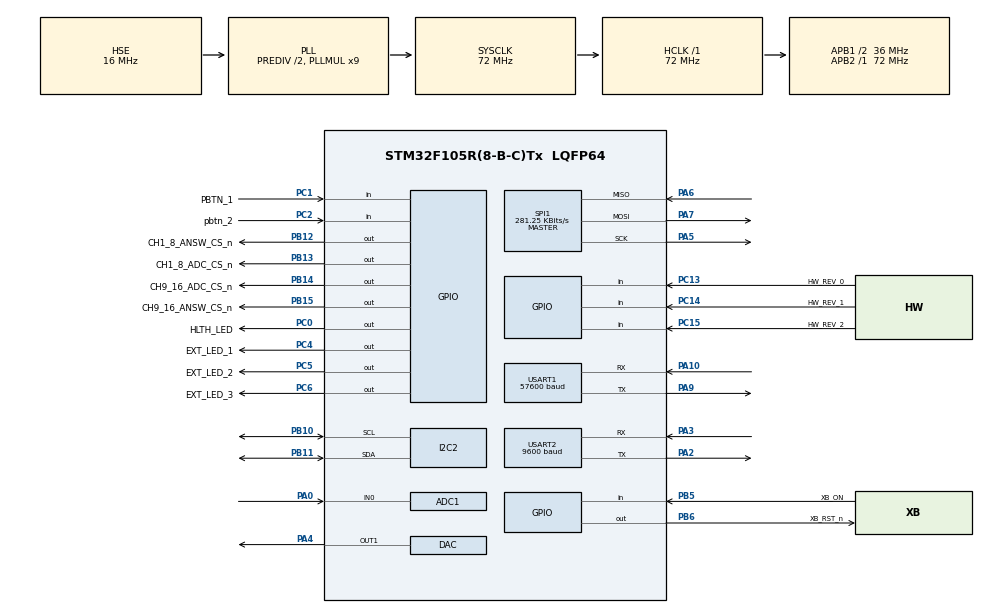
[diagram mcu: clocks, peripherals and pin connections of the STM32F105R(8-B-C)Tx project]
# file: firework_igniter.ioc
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ADC1.Channel-0\#ChannelRegularConversion=ADC_CHANNEL_0
ADC1.NbrOfConversionFlag=1
ADC1.Rank-0\#ChannelRegularConversion=1
ADC1.SamplingTime-0\#ChannelRegularConversion=ADC_SAMPLETIME_1CYCLE_5
ADC1.master=1
Mcu.Family=STM32F1
Mcu.Name=STM32F105R(8-B-C)Tx
Mcu.Package=LQFP64
NVIC.PriorityGroup=NVIC_PRIORITYGROUP_4
NVIC.TIM6_IRQn=true\:0\:0\:false\:false\:true\:true\:true
NVIC.USART1_IRQn=true\:0\:0\:false\:false\:true\:true\:true
NVIC.USART2_IRQn=true\:0\:0\:false\:false\:true\:true\:true
PA0-WKUP.Signal=ADCx_IN0
PA10.Mode=Asynchronous
PA10.Signal=USART1_RX
PA13.Mode=Serial_Wire
PA13.Signal=SYS_JTMS-SWDIO
PA14.Mode=Serial_Wire
PA14.Signal=SYS_JTCK-SWCLK
PA2.Mode=Asynchronous
PA2.Signal=USART2_TX
PA3.Mode=Asynchronous
PA3.Signal=USART2_RX
PA4.Signal=COMP_DAC1_group
PA5.Mode=Full_Duplex_Master
PA5.Signal=SPI1_SCK
PA6.Mode=Full_Duplex_Master
PA6.Signal=SPI1_MISO
PA7.Mode=Full_Duplex_Master
PA7.Signal=SPI1_MOSI
PA9.Mode=Asynchronous
PA9.Signal=USART1_TX
PB10.Mode=I2C
PB10.Signal=I2C2_SCL
PB11.Mode=I2C
PB11.Signal=I2C2_SDA
PB12.GPIO_Label=CH1_8_ANSW_CS_n
PB12.PinState=GPIO_PIN_SET
PB12.Signal=GPIO_Output
PB13.GPIO_Label=CH1_8_ADC_CS_n
PB13.PinState=GPIO_PIN_SET
PB13.Signal=GPIO_Output
PB14.GPIO_Label=CH9_16_ADC_CS_n
PB14.PinState=GPIO_PIN_SET
PB14.Signal=GPIO_Output
PB15.GPIO_Label=CH9_16_ANSW_CS_n
PB15.PinState=GPIO_PIN_SET
PB15.Signal=GPIO_Output
PB3.Signal=SYS_TRACESWO
PB5.GPIO_Label=XB_ON
PB5.Signal=GPIO_Input
PB6.GPIO_Label=XB_RST_n
PB6.Signal=GPIO_Output
PC0.GPIO_Label=HLTH_LED
PC0.GPIO_ModeDefaultOutputPP=GPIO_MODE_OUTPUT_PP
PC0.PinState=GPIO_PIN_RESET
PC0.Signal=GPIO_Output
PC1.GPIO_Label=PBTN_1
PC1.Signal=GPIO_Input
PC13-TAMPER-RTC.GPIO_Label=HW_REV_0
PC13-TAMPER-RTC.Signal=GPIO_Input
PC14-OSC32_IN.GPIO_Label=HW_REV_1
PC14-OSC32_IN.Signal=GPIO_Input
PC15-OSC32_OUT.GPIO_Label=HW_REV_2
PC15-OSC32_OUT.Signal=GPIO_Input
PC2.GPIO_Label=pbtn_2
PC2.Signal=GPIO_Input
PC4.GPIO_Label=EXT_LED_1
PC4.PinState=GPIO_PIN_SET
PC4.Signal=GPIO_Output
PC5.GPIO_Label=EXT_LED_2
PC5.PinState=GPIO_PIN_SET
PC5.Signal=GPIO_Output
PC6.GPIO_Label=EXT_LED_3
PC6.PinState=GPIO_PIN_SET
PC6.Signal=GPIO_Output
PD0-OSC_IN.Mode=HSE-External-Oscillator
PD0-OSC_IN.Signal=RCC_OSC_IN
PD1-OSC_OUT.Mode=HSE-External-Oscillator
PD1-OSC_OUT.Signal=RCC_OSC_OUT
ProjectManager.HeapSize=0x200
ProjectManager.StackSize=0x400
ProjectManager.TargetToolchain=STM32CubeIDE
RCC.ADCPresc=RCC_ADCPCLK2_DIV6
RCC.AHBFreq_Value=72000000
RCC.APB1CLKDivider=RCC_HCLK_DIV2
RCC.APB1Freq_Value=36000000
RCC.APB1TimFreq_Value=72000000
RCC.APB2Freq_Value=72000000
RCC.APB2TimFreq_Value=72000000
RCC.HCLKFreq_Value=72000000
RCC.HSEDivPLL=RCC_HSE_PREDIV_DIV2
RCC.HSE_VALUE=16000000
RCC.PLLMUL=RCC_PLL_MUL9
RCC.PLLSourceVirtual=RCC_PLLSOURCE_HSE
RCC.SYSCLKFreq_VALUE=72000000
RCC.SYSCLKSource=RCC_SYSCLKSOURCE_PLLCLK
RCC.USBFreq_Value=48000000
SH.ADCx_IN0.0=ADC1_IN0,IN0
SH.COMP_DAC1_group.0=DAC_OUT1,DAC_OUT1
SPI1.BaudRatePrescaler=SPI_BAUDRATEPRESCALER_256
SPI1.CalculateBaudRate=281.25 KBits/s
SPI1.Direction=SPI_DIRECTION_2LINES
SPI1.Mode=SPI_MODE_MASTER
SPI1.VirtualType=VM_MASTER
TIM6.AutoReloadPreload=TIM_AUTORELOAD_PRELOAD_ENABLE
TIM6.Period=10000-1
TIM6.Prescaler=72-1
USART1.BaudRate=57600
USART1.VirtualMode=VM_ASYNC
USART2.BaudRate=9600
USART2.VirtualMode=VM_ASYNC
VP_TIM6_VS_ClockSourceINT.Mode=Enable_Timer
board=custom

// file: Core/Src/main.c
/* USER CODE BEGIN Header */
/**
  ******************************************************************************
  * @file           : main.c
  * @brief          : Main program body
  ******************************************************************************
  * @attention
  *
  * Copyright (c) 2023 STMicroelectronics.
  * All rights reserved.
  *
  * This software is licensed under terms that can be found in the LICENSE file
  * in the root directory of this software component.
  * If no LICENSE file comes with this software, it is provided AS-IS.
  *
  ******************************************************************************
  */
/* USER CODE END Header */
#include "main.h"

/* USER CODE BEGIN PTD */
// struct timing       time;
struct UARTMembers  uart;
ad7888              a2d;
fuse                fus;
timing              tim;

/* USER CODE END PTD */

ADC_HandleTypeDef hadc1;

DAC_HandleTypeDef hdac;

I2C_HandleTypeDef hi2c2;

SPI_HandleTypeDef hspi1;

TIM_HandleTypeDef htim6;

UART_HandleTypeDef huart1;
UART_HandleTypeDef huart2;

/* USER CODE BEGIN PV */
uint8_t rx_char;

/* USER CODE END PV */

void SystemClock_Config(void);
static void MX_GPIO_Init(void);
static void MX_ADC1_Init(void);
static void MX_DAC_Init(void);
static void MX_I2C2_Init(void);
static void MX_SPI1_Init(void);
static void MX_USART1_UART_Init(void);
static void MX_USART2_UART_Init(void);
static void MX_TIM6_Init(void);

int main(void)
{

  /* MCU Configuration--------------------------------------------------------*/

  /* Reset of all peripherals, Initializes the Flash interface and the Systick. */
  HAL_Init();

  /* Configure the system clock */
  SystemClock_Config();

  /* USER CODE BEGIN SysInit */
  uart.errorflag      = false;
  uart.validmsg       = false;
  uart.msg_state      = STATESTART;
  uart.len_verify     = 0;                        // Initialize length verify counter to 0
  uart.producer_index = 0;                        // Initialize consumer index
  uart.consumer_index = 0;                        // Initialize producer index
  uart.inmenu         = false;                    // Will not start out in console menu

  /* USER CODE END SysInit */

  /* Initialize all configured peripherals */
  MX_GPIO_Init();
  MX_ADC1_Init();
  MX_DAC_Init();
  MX_I2C2_Init();
  MX_SPI1_Init();
  MX_USART1_UART_Init();
  MX_USART2_UART_Init();
  MX_TIM6_Init();
  /* USER CODE BEGIN 2 */

  init_ad7888 (&a2d);
  init_timer (&tim);
  igniter_initialize(&fus);

  HAL_GPIO_WritePin(EXT_LED_1_GPIO_Port, EXT_LED_1_Pin, GPIO_PIN_RESET);
  HAL_GPIO_WritePin(EXT_LED_2_GPIO_Port,EXT_LED_2_Pin, GPIO_PIN_RESET);
  HAL_GPIO_WritePin(EXT_LED_3_GPIO_Port,EXT_LED_3_Pin, GPIO_PIN_RESET);

  // Verify the XBEE module is awake and not in reset
  HAL_GPIO_WritePin(XB_ON_GPIO_Port,XB_ON_Pin, GPIO_PIN_SET);
  HAL_GPIO_WritePin(XB_RST_n_GPIO_Port,XB_RST_n_Pin, GPIO_PIN_SET);

  // Must use Base Start IT if using interrupts
  HAL_TIM_Base_Start_IT(&htim6);
  HAL_DAC_Start(&hdac, DAC_CHANNEL_1);

  HAL_UART_Receive_IT(&huart1, &uart.rxchar, 1);  // UART to console interface
  HAL_UART_Receive_IT(&huart2, &uart.rxchar, 1);  // UART to XBEE interface

  /* USER CODE END 2 */

  /* Infinite loop */
  /* USER CODE BEGIN WHILE */
  while (1)
  {

    /**
     * Message handling
     */
    if (uart.byte_counter >= MAX_RX_BUF_INDEX) {
      ResetRxBuffer();                        //Something went wrong, reset the RX buffer.
    }
    else if(uart.consumer_index != uart.producer_index) {             //We have unprocessed data when indices do not agree
      HandleByte();
    }

    if(uart.validmsg == true) {     //A valid message confirmed in buffer
        uart.validmsg = false;      //Avoid diving into ProcessMessage for no reason
        ProcessMessage();
    }

    if(tim.timer_100ms_running && ((tim.timer_100ms_cntr) >= FUSE_100MS_TICKS_TIMEOUT)) {
      anlg_sw_all_off();
      fus.fuse_lighting_bool = false;
      tim.timer_100ms_running = false;
      tim.timer_100ms_cntr = 0;

    }

	  if(tim.flag_10ms_tick) {
		  tim.flag_10ms_tick = false;
	  }

	  if(tim.flag_100ms_tick) {
	      tim.flag_100ms_tick = false;
        if(fus.fuse_lighting_bool) {
	        HAL_GPIO_TogglePin(EXT_LED_2_GPIO_Port, EXT_LED_2_Pin); // External RED LED
        }
        else {
          HAL_GPIO_WritePin(EXT_LED_2_GPIO_Port,EXT_LED_2_Pin, GPIO_PIN_RESET);
        }

        /* If all fuses are bad, illuminate the amber LED */
	      if(fus.all_fuses_bad_bool){
          HAL_GPIO_TogglePin(EXT_LED_3_GPIO_Port, EXT_LED_3_Pin); // External Amber LED
        }
        else {
          HAL_GPIO_WritePin(EXT_LED_3_GPIO_Port, EXT_LED_3_Pin, GPIO_PIN_RESET);
        }

    }

	    if(tim.flag_500ms_tick) {
	      tim.flag_500ms_tick = false;
	      HAL_GPIO_TogglePin(HLTH_LED_GPIO_Port, HLTH_LED_Pin);   // Board LED
	      HAL_GPIO_TogglePin(EXT_LED_1_GPIO_Port, EXT_LED_1_Pin); // External GRN LED

	    }

    /* USER CODE END WHILE */

  }
}

void SystemClock_Config(void)
{
  RCC_OscInitTypeDef RCC_OscInitStruct = {0};
  RCC_ClkInitTypeDef RCC_ClkInitStruct = {0};
  RCC_PeriphCLKInitTypeDef PeriphClkInit = {0};

  /** Initializes the RCC Oscillators according to the specified parameters
  * in the RCC_OscInitTypeDef structure.
  */
  RCC_OscInitStruct.OscillatorType = RCC_OSCILLATORTYPE_HSE;
  RCC_OscInitStruct.HSEState = RCC_HSE_ON;
  RCC_OscInitStruct.HSEPredivValue = RCC_HSE_PREDIV_DIV2;
  RCC_OscInitStruct.HSIState = RCC_HSI_ON;
  RCC_OscInitStruct.Prediv1Source = RCC_PREDIV1_SOURCE_HSE;
  RCC_OscInitStruct.PLL.PLLState = RCC_PLL_ON;
  RCC_OscInitStruct.PLL.PLLSource = RCC_PLLSOURCE_HSE;
  RCC_OscInitStruct.PLL.PLLMUL = RCC_PLL_MUL9;
  RCC_OscInitStruct.PLL2.PLL2State = RCC_PLL_NONE;
  if (HAL_RCC_OscConfig(&RCC_OscInitStruct) != HAL_OK)
  {
    Error_Handler();
  }
  /** Initializes the CPU, AHB and APB buses clocks
  */
  RCC_ClkInitStruct.ClockType = RCC_CLOCKTYPE_HCLK|RCC_CLOCKTYPE_SYSCLK
                              |RCC_CLOCKTYPE_PCLK1|RCC_CLOCKTYPE_PCLK2;
  RCC_ClkInitStruct.SYSCLKSource = RCC_SYSCLKSOURCE_PLLCLK;
  RCC_ClkInitStruct.AHBCLKDivider = RCC_SYSCLK_DIV1;
  RCC_ClkInitStruct.APB1CLKDivider = RCC_HCLK_DIV2;
  RCC_ClkInitStruct.APB2CLKDivider = RCC_HCLK_DIV1;

  if (HAL_RCC_ClockConfig(&RCC_ClkInitStruct, FLASH_LATENCY_2) != HAL_OK)
  {
    Error_Handler();
  }
  PeriphClkInit.PeriphClockSelection = RCC_PERIPHCLK_ADC;
  PeriphClkInit.AdcClockSelection = RCC_ADCPCLK2_DIV6;
  if (HAL_RCCEx_PeriphCLKConfig(&PeriphClkInit) != HAL_OK)
  {
    Error_Handler();
  }
  /** Configure the Systick interrupt time
  */
  __HAL_RCC_PLLI2S_ENABLE();
}

static void MX_ADC1_Init(void)
{

  ADC_ChannelConfTypeDef sConfig = {0};

  /** Common config
  */
  hadc1.Instance = ADC1;
  hadc1.Init.ScanConvMode = ADC_SCAN_DISABLE;
  hadc1.Init.ContinuousConvMode = DISABLE;
  hadc1.Init.DiscontinuousConvMode = DISABLE;
  hadc1.Init.ExternalTrigConv = ADC_SOFTWARE_START;
  hadc1.Init.DataAlign = ADC_DATAALIGN_RIGHT;
  hadc1.Init.NbrOfConversion = 1;
  if (HAL_ADC_Init(&hadc1) != HAL_OK)
  {
    Error_Handler();
  }
  /** Configure Regular Channel
  */
  sConfig.Channel = ADC_CHANNEL_0;
  sConfig.Rank = ADC_REGULAR_RANK_1;
  sConfig.SamplingTime = ADC_SAMPLETIME_1CYCLE_5;
  if (HAL_ADC_ConfigChannel(&hadc1, &sConfig) != HAL_OK)
  {
    Error_Handler();
  }

}

static void MX_DAC_Init(void)
{

  DAC_ChannelConfTypeDef sConfig = {0};

  /** DAC Initialization
  */
  hdac.Instance = DAC;
  if (HAL_DAC_Init(&hdac) != HAL_OK)
  {
    Error_Handler();
  }
  /** DAC channel OUT1 config
  */
  sConfig.DAC_Trigger = DAC_TRIGGER_NONE;
  sConfig.DAC_OutputBuffer = DAC_OUTPUTBUFFER_ENABLE;
  if (HAL_DAC_ConfigChannel(&hdac, &sConfig, DAC_CHANNEL_1) != HAL_OK)
  {
    Error_Handler();
  }

}

static void MX_I2C2_Init(void)
{

  hi2c2.Instance = I2C2;
  hi2c2.Init.ClockSpeed = 100000;
  hi2c2.Init.DutyCycle = I2C_DUTYCYCLE_2;
  hi2c2.Init.OwnAddress1 = 0;
  hi2c2.Init.AddressingMode = I2C_ADDRESSINGMODE_7BIT;
  hi2c2.Init.DualAddressMode = I2C_DUALADDRESS_DISABLE;
  hi2c2.Init.OwnAddress2 = 0;
  hi2c2.Init.GeneralCallMode = I2C_GENERALCALL_DISABLE;
  hi2c2.Init.NoStretchMode = I2C_NOSTRETCH_DISABLE;
  if (HAL_I2C_Init(&hi2c2) != HAL_OK)
  {
    Error_Handler();
  }

}

static void MX_SPI1_Init(void)
{

  /* SPI1 parameter configuration*/
  hspi1.Instance = SPI1;
  hspi1.Init.Mode = SPI_MODE_MASTER;
  hspi1.Init.Direction = SPI_DIRECTION_2LINES;
  hspi1.Init.DataSize = SPI_DATASIZE_8BIT;
  hspi1.Init.CLKPolarity = SPI_POLARITY_LOW;
  hspi1.Init.CLKPhase = SPI_PHASE_1EDGE;
  hspi1.Init.NSS = SPI_NSS_SOFT;
  hspi1.Init.BaudRatePrescaler = SPI_BAUDRATEPRESCALER_256;
  hspi1.Init.FirstBit = SPI_FIRSTBIT_MSB;
  hspi1.Init.TIMode = SPI_TIMODE_DISABLE;
  hspi1.Init.CRCCalculation = SPI_CRCCALCULATION_DISABLE;
  hspi1.Init.CRCPolynomial = 10;
  if (HAL_SPI_Init(&hspi1) != HAL_OK)
  {
    Error_Handler();
  }

}

static void MX_TIM6_Init(void)
{

  TIM_MasterConfigTypeDef sMasterConfig = {0};

  htim6.Instance = TIM6;
  htim6.Init.Prescaler = 72-1;
  htim6.Init.CounterMode = TIM_COUNTERMODE_UP;
  htim6.Init.Period = 10000-1;
  htim6.Init.AutoReloadPreload = TIM_AUTORELOAD_PRELOAD_ENABLE;
  if (HAL_TIM_Base_Init(&htim6) != HAL_OK)
  {
    Error_Handler();
  }
  sMasterConfig.MasterOutputTrigger = TIM_TRGO_RESET;
  sMasterConfig.MasterSlaveMode = TIM_MASTERSLAVEMODE_DISABLE;
  if (HAL_TIMEx_MasterConfigSynchronization(&htim6, &sMasterConfig) != HAL_OK)
  {
    Error_Handler();
  }

}

static void MX_USART1_UART_Init(void)
{

  huart1.Instance = USART1;
  huart1.Init.BaudRate = 57600;
  huart1.Init.WordLength = UART_WORDLENGTH_8B;
  huart1.Init.StopBits = UART_STOPBITS_1;
  huart1.Init.Parity = UART_PARITY_NONE;
  huart1.Init.Mode = UART_MODE_TX_RX;
  huart1.Init.HwFlowCtl = UART_HWCONTROL_NONE;
  huart1.Init.OverSampling = UART_OVERSAMPLING_16;
  if (HAL_UART_Init(&huart1) != HAL_OK)
  {
    Error_Handler();
  }

}

static void MX_USART2_UART_Init(void)
{

  huart2.Instance = USART2;
  huart2.Init.BaudRate = 9600;
  huart2.Init.WordLength = UART_WORDLENGTH_8B;
  huart2.Init.StopBits = UART_STOPBITS_1;
  huart2.Init.Parity = UART_PARITY_NONE;
  huart2.Init.Mode = UART_MODE_TX_RX;
  huart2.Init.HwFlowCtl = UART_HWCONTROL_NONE;
  huart2.Init.OverSampling = UART_OVERSAMPLING_16;
  if (HAL_UART_Init(&huart2) != HAL_OK)
  {
    Error_Handler();
  }

}

static void MX_GPIO_Init(void)
{
  GPIO_InitTypeDef GPIO_InitStruct = {0};

  /* GPIO Ports Clock Enable */
  __HAL_RCC_GPIOC_CLK_ENABLE();
  __HAL_RCC_GPIOD_CLK_ENABLE();
  __HAL_RCC_GPIOA_CLK_ENABLE();
  __HAL_RCC_GPIOB_CLK_ENABLE();

  /*Configure GPIO pin Output Level */
  HAL_GPIO_WritePin(HLTH_LED_GPIO_Port, HLTH_LED_Pin, GPIO_PIN_RESET);

  /*Configure GPIO pin Output Level */
  HAL_GPIO_WritePin(GPIOC, EXT_LED_1_Pin|EXT_LED_2_Pin|EXT_LED_3_Pin, GPIO_PIN_SET);

  /*Configure GPIO pin Output Level */
  HAL_GPIO_WritePin(GPIOB, CH1_8_ANSW_CS_n_Pin|CH1_8_ADC_CS_n_Pin|CH9_16_ADC_CS_n_Pin|CH9_16_ANSW_CS_n_Pin, GPIO_PIN_SET);

  /*Configure GPIO pin Output Level */
  HAL_GPIO_WritePin(XB_RST_n_GPIO_Port, XB_RST_n_Pin, GPIO_PIN_RESET);

  /*Configure GPIO pins : HW_REV_0_Pin HW_REV_1_Pin HW_REV_2_Pin PBTN_1_Pin
                           pbtn_2_Pin */
  GPIO_InitStruct.Pin = HW_REV_0_Pin|HW_REV_1_Pin|HW_REV_2_Pin|PBTN_1_Pin
                          |pbtn_2_Pin;
  GPIO_InitStruct.Mode = GPIO_MODE_INPUT;
  GPIO_InitStruct.Pull = GPIO_NOPULL;
  HAL_GPIO_Init(GPIOC, &GPIO_InitStruct);

  /*Configure GPIO pins : HLTH_LED_Pin EXT_LED_1_Pin EXT_LED_2_Pin EXT_LED_3_Pin */
  GPIO_InitStruct.Pin = HLTH_LED_Pin|EXT_LED_1_Pin|EXT_LED_2_Pin|EXT_LED_3_Pin;
  GPIO_InitStruct.Mode = GPIO_MODE_OUTPUT_PP;
  GPIO_InitStruct.Pull = GPIO_NOPULL;
  GPIO_InitStruct.Speed = GPIO_SPEED_FREQ_LOW;
  HAL_GPIO_Init(GPIOC, &GPIO_InitStruct);

  /*Configure GPIO pins : CH1_8_ANSW_CS_n_Pin CH1_8_ADC_CS_n_Pin CH9_16_ADC_CS_n_Pin CH9_16_ANSW_CS_n_Pin
                           XB_RST_n_Pin */
  GPIO_InitStruct.Pin = CH1_8_ANSW_CS_n_Pin|CH1_8_ADC_CS_n_Pin|CH9_16_ADC_CS_n_Pin|CH9_16_ANSW_CS_n_Pin
                          |XB_RST_n_Pin;
  GPIO_InitStruct.Mode = GPIO_MODE_OUTPUT_PP;
  GPIO_InitStruct.Pull = GPIO_NOPULL;
  GPIO_InitStruct.Speed = GPIO_SPEED_FREQ_LOW;
  HAL_GPIO_Init(GPIOB, &GPIO_InitStruct);

  /*Configure GPIO pin : XB_ON_Pin */
  GPIO_InitStruct.Pin = XB_ON_Pin;
  GPIO_InitStruct.Mode = GPIO_MODE_INPUT;
  GPIO_InitStruct.Pull = GPIO_NOPULL;
  HAL_GPIO_Init(XB_ON_GPIO_Port, &GPIO_InitStruct);

}

/* USER CODE BEGIN 4 */

/********************************************//**
 *  @brief Initialize timer events
 ***********************************************/
void init_timer (timing * tim) {
  tim -> led_fast_blink = false;
  tim -> flag_10ms_tick = false;
  tim -> flag_100ms_tick = false;
  tim -> flag_500ms_tick = false;
  tim -> ticks10ms = 0;
  tim -> ticks100ms = 0;
  tim -> ticks500ms = 0;

  tim -> timer_100ms_running = false;
  tim -> timer_100ms_cntr = 0;

}

/********************************************//**
 *  @brief Ignite a fuse
 ***********************************************/
void ignite_fuse (timing * tim, fuse * fus, uint8_t fuse_number_u8) {
  float temp_float;
  uint16_t dac_data_value;

  /**
   * Start the timer so the fuse driver
   * shuts off after so many
   * mili-seconds
   */
  tim -> timer_100ms_cntr = 0;
  tim -> timer_100ms_running = true;
  fus -> fuse_lighting_bool = true;

  /**
   * Set the DAC value appropriately
   */
  temp_float = (float)(fus -> fuse_current_u16/1000.0*0.5);
  dac_data_value = get_dac_data_value(temp_float);
  HAL_DAC_SetValue(&hdac, DAC_CHANNEL_1, DAC_ALIGN_12B_R, (uint32_t)dac_data_value);

  /**
   * Make sure other fuse channels
   * are first turned off
   */
  anlg_sw_all_off ();

  /**
   * Turn on the appropriate
   * analog switch
   */
  set_anlg_sw_on(fuse_number_u8);

}

/********************************************//**
 *  @brief Get fuse status
 ***********************************************/
uint16_t get_status_all_fuses(fuse * fus) {
  uint16_t  temp_fuse_current_u16;
  uint16_t  dac_data_value;
  float     temp_float;
  uint16_t  fuse_status_u16 = 0x0000;
  uint8_t   counter_u8;
  bool      temp_all_fuses_bad_b = true;

  /**
   * Retrieve the current fuse current
   * setting so the value can be
   * restored before leaving this funciton
   */
  temp_fuse_current_u16 = fus -> fuse_current_u16;

  /**
   * Set the fuse current to a low value
   * so as to not set off fireworks while
   * checking the fuse.  Fuse current value
   * is in mA, so must first divide by 1000
   * before multiplying by 0.5 to determine
   * DAC voltage.
   */
  fus -> fuse_current_u16 = CHECK_VALUE_FUSE_CURRENT_MA;
  temp_float = (float)(fus -> fuse_current_u16/1000.0*0.5);

  dac_data_value = get_dac_data_value(temp_float);
  HAL_DAC_SetValue(&hdac, DAC_CHANNEL_1, DAC_ALIGN_12B_R, (uint32_t)dac_data_value);

  /**
   * Cycle through the fuses to see
   * which are valid and which are not
   */
  for(counter_u8 = 1; counter_u8 < 17; counter_u8++){
    set_anlg_sw_on (counter_u8);
    temp_float = get_voltage_mv (&a2d, counter_u8);

    if(temp_float > GOOD_FUSE_MV_THRESHOLD) {     // Fuse is good
      fuse_status_u16 |= (1 << (counter_u8 - 1));
      if(temp_all_fuses_bad_b) {
        temp_all_fuses_bad_b = false;
      }
    }

    anlg_sw_all_off();
  }

  /**
   * Update all fuses bad status
   */
  fus -> all_fuses_bad_bool = temp_all_fuses_bad_b;

  /**
   * Return the DAC value back to what it was
   * when entering this function
   */
  fus -> fuse_current_u16 = temp_fuse_current_u16;
  temp_float = (float)(fus -> fuse_current_u16/1000.0*0.5);

  dac_data_value = get_dac_data_value(temp_float);
  HAL_DAC_SetValue(&hdac, DAC_CHANNEL_1, DAC_ALIGN_12B_R, (uint32_t)dac_data_value);

  return fuse_status_u16;

}

/********************************************//**
 *  @brief Initalize fuse ignition parameters
 ***********************************************/
void igniter_initialize(fuse * fus){
  fus -> fuse_current_u16 = DEFAULT_FUSE_CURRENT_MA;
  fus -> fuse_lighting_bool = false;
  fus -> all_fuses_bad_bool = false;
}

/********************************************//**
 *  @brief Handle Timer Interrupts
 ***********************************************/
void HAL_TIM_PeriodElapsedCallback(TIM_HandleTypeDef *htim) {
	if(htim == &htim6){
			tim.flag_10ms_tick = true;

		 if(tim.ticks10ms == 9) {
		   tim.ticks10ms = 0;
		   tim.flag_100ms_tick = true;
       if(tim.timer_100ms_running) {
        tim.timer_100ms_cntr++;
       }
       else {
        tim.timer_100ms_cntr = 0;
       }

		   if(tim.ticks100ms == 4) {
			 tim.ticks100ms = 0;
			 tim.flag_500ms_tick = true;

			 if(tim.ticks500ms == 119)										// One minute worth of half seconds
			   tim.ticks500ms = 0;
			 else
			   tim.ticks500ms += 1;
		   }
		   else {
			   tim.ticks100ms += 1;
		   }
		 }
		 else {
		   tim.ticks10ms += 1;
		 }

		}
}

/********************************************//**
 *  @brief Handle UART RX interrupts
 ***********************************************/
void HAL_UART_RxCpltCallback(UART_HandleTypeDef *huart) {

  /**
   * Console UART Interface
   *
   */
  if(huart == &huart1) {

    uart.rxbuf[uart.producer_index] = uart.rxchar;          // Load this byte into rx buffer
    uart.byte_counter++;                                                   //Increase data counter
    (uart.producer_index >= MAX_RX_BUF_INDEX) ? (uart.producer_index = 0):(uart.producer_index++);
		HAL_UART_Receive_IT(&huart1, &uart.rxchar, 1);
	}

  /**
   * RF UART Interface
   */
  else if(huart == &huart2) {

    uart.rxbuf[uart.producer_index] = uart.rxchar;          // Load this byte into rx buffer
    uart.byte_counter++;                                                   //Increase data counter
    (uart.producer_index >= MAX_RX_BUF_INDEX) ? (uart.producer_index = 0):(uart.producer_index++);
		HAL_UART_Receive_IT(&huart2, &uart.rxchar, 1);
	}
}

/* USER CODE END 4 */

void Error_Handler(void)
{
  __disable_irq();
  while (1)
  {
  }
}
